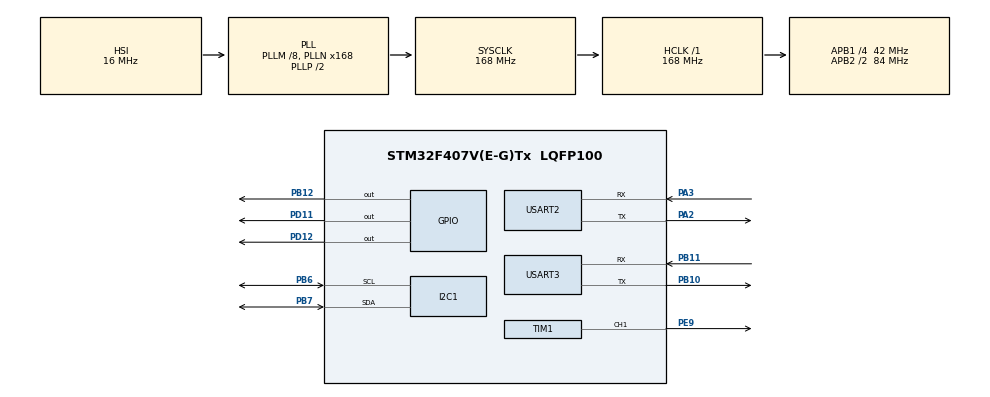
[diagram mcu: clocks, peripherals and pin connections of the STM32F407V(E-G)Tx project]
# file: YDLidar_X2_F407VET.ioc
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Dma.Request0=USART2_RX
Dma.USART2_RX.0.Direction=DMA_PERIPH_TO_MEMORY
Dma.USART2_RX.0.FIFOMode=DMA_FIFOMODE_DISABLE
Dma.USART2_RX.0.Instance=DMA1_Stream5
Dma.USART2_RX.0.MemDataAlignment=DMA_MDATAALIGN_BYTE
Dma.USART2_RX.0.MemInc=DMA_MINC_ENABLE
Dma.USART2_RX.0.Mode=DMA_NORMAL
Dma.USART2_RX.0.PeriphDataAlignment=DMA_PDATAALIGN_BYTE
Dma.USART2_RX.0.PeriphInc=DMA_PINC_DISABLE
Dma.USART2_RX.0.Priority=DMA_PRIORITY_LOW
Mcu.Family=STM32F4
Mcu.Name=STM32F407V(E-G)Tx
Mcu.Package=LQFP100
NVIC.DMA1_Stream5_IRQn=true\:0\:0\:false\:false\:true\:false\:true\:true
NVIC.PriorityGroup=NVIC_PRIORITYGROUP_4
PA2.Mode=Asynchronous
PA2.Signal=USART2_TX
PA3.Mode=Asynchronous
PA3.Signal=USART2_RX
PB10.Mode=Asynchronous
PB10.Signal=USART3_TX
PB11.Mode=Asynchronous
PB11.Signal=USART3_RX
PB12.Signal=GPIO_Output
PB6.GPIO_Pu=GPIO_PULLUP
PB6.Mode=I2C
PB6.Signal=I2C1_SCL
PB7.GPIO_Pu=GPIO_PULLUP
PB7.Mode=I2C
PB7.Signal=I2C1_SDA
PD11.Signal=GPIO_Output
PD12.Signal=GPIO_Output
PE9.Signal=S_TIM1_CH1
ProjectManager.HeapSize=0x200
ProjectManager.StackSize=0x400
ProjectManager.TargetToolchain=MDK-ARM V5.32
RCC.48MHZClocksFreq_Value=84000000
RCC.AHBFreq_Value=168000000
RCC.APB1CLKDivider=RCC_HCLK_DIV4
RCC.APB1Freq_Value=42000000
RCC.APB1TimFreq_Value=84000000
RCC.APB2CLKDivider=RCC_HCLK_DIV2
RCC.APB2Freq_Value=84000000
RCC.APB2TimFreq_Value=168000000
RCC.CortexFreq_Value=168000000
RCC.HCLKFreq_Value=168000000
RCC.HSE_VALUE=25000000
RCC.HSI_VALUE=16000000
RCC.LSE_VALUE=32768
RCC.PLLM=8
RCC.PLLN=168
RCC.SYSCLKFreq_VALUE=168000000
RCC.SYSCLKSource=RCC_SYSCLKSOURCE_PLLCLK
RCC.VCOOutputFreq_Value=336000000
SH.S_TIM1_CH1.0=TIM1_CH1,PWM Generation1 CH1
TIM1.Channel-PWM\ Generation1\ CH1=TIM_CHANNEL_1
TIM1.Period=100-1
TIM1.Prescaler=168-1
USART2.VirtualMode=VM_ASYNC
USART3.VirtualMode=VM_ASYNC
VP_TIM1_VS_ClockSourceINT.Mode=Internal
board=custom

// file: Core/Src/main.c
/* USER CODE BEGIN Header */
/**
  ******************************************************************************
  * @file           : main.c
  * @brief          : Main program body
  ******************************************************************************
  * @attention
  *
  * Copyright (c) 2022 STMicroelectronics.
  * All rights reserved.
  *
  * This software is licensed under terms that can be found in the LICENSE file
  * in the root directory of this software component.
  * If no LICENSE file comes with this software, it is provided AS-IS.
  *
  ******************************************************************************
  */
/* USER CODE END Header */
#include "main.h"

/* USER CODE BEGIN Includes */

#include <cmath>
#include <string.h>
#include <stdio.h>
#include "lcd16x2_i2c.h"

/* USER CODE END Includes */

/* USER CODE BEGIN PD */

#define dataLong 360

/* USER CODE END PD */

I2C_HandleTypeDef hi2c1;

TIM_HandleTypeDef htim1;

UART_HandleTypeDef huart2;
UART_HandleTypeDef huart3;
DMA_HandleTypeDef hdma_usart2_rx;

void SystemClock_Config(void);
static void MX_GPIO_Init(void);
static void MX_DMA_Init(void);
static void MX_USART2_UART_Init(void);
static void MX_TIM1_Init(void);
static void MX_I2C1_Init(void);
static void MX_USART3_UART_Init(void);

/* USER CODE BEGIN 0 */

/************************************* Variables ******************************/

uint8_t ReceiverBuffer[dataLong] ;
uint8_t logData[dataLong*3];
uint8_t pointLog = 0;

// Power Up Scan
uint8_t modelLidar;
uint8_t firmwareVersionMinor;
uint8_t firmwareVersionMajor;
uint8_t hardwareVersion;
uint8_t serialNumber[16];
uint8_t dataLengthPower;
uint8_t modeScanPower;
uint8_t typeCodePower;
uint8_t contentPower[20];
uint8_t flagPower = 0;

// Sampling & Ranging
int dataLengthScan;
uint8_t modeScan;
uint8_t typeCodeScan;
uint8_t contentScan[60];
uint8_t scanLog[120];
uint8_t startingPoint[1];
uint8_t flagScan = 0;

// Data Protocol
uint8_t PH[2];
uint8_t CT[1];
uint8_t LSN[1];
uint8_t FSA[2];
uint8_t LSA[2];
uint8_t CS[2];
uint8_t SI[2];
uint8_t logDataProtocol[80];
float distanceBuf;
float angleStart;
float angleEnd;
float angleAtIPosition;
float angleCorrectionAtIPosition;
float trueAngle;

// Main Data
float distance[360];
float angle[360];
unsigned int distacePosition = 0;
int flagDataSimilar = 0;

// Normalisasi Data
float angleToDistance[360];
short flagNorm = 0;

/************************************* Call Back ******************************/

void HAL_UART_RxHalfCpltCallback(UART_HandleTypeDef *huart)
{
  HAL_GPIO_TogglePin(GPIOD, GPIO_PIN_12);
}

/************************************* Receiving Data **************************/

void HAL_UART_RxCpltCallback(UART_HandleTypeDef *huart)
{
	// Get Data
//	for(int i = 0; i < dataLong; i++){
//		logData[i+(pointLog*dataLong)] = ReceiverBuffer[i];
//	}
//	pointLog++;
//
	// Scan for Power Information
	for(int i = 0; i < dataLong; i++){
		if(flagPower == 0){
			if(ReceiverBuffer[i] == 0xA5){
				if(ReceiverBuffer[i+1] == 0x5A){

					dataLengthPower = ((ReceiverBuffer[i+5]) << 3 | (ReceiverBuffer[i+4]) << 2 | (ReceiverBuffer[i+3]) << 1 | (ReceiverBuffer[i+2]));

					// Mode Scan
					if(ReceiverBuffer[i+5] == 0x00){
						modeScanPower = 0x00;
					}
					else{
						modeScanPower = 0x01;
					}

					// Type Code
					typeCodePower = ReceiverBuffer[i+6];

					// Content
					modelLidar = ReceiverBuffer[i+7];
					firmwareVersionMajor = ReceiverBuffer[i+9];
					firmwareVersionMinor = ReceiverBuffer[i+8];
					hardwareVersion = ReceiverBuffer[i+10];

					// Flag On
					flagPower = 1;
				}
			}
		}
	}

	// Scan for sampling
	for(int i = 0; i < dataLong; i++){
		if(flagPower == 1){
			if(ReceiverBuffer[i] == 0xA5){
				if(ReceiverBuffer[i+1] == 0x5A){
					if(ReceiverBuffer[i+2] == 0x05){

						dataLengthScan = (ReceiverBuffer[i+5] << 24)|(ReceiverBuffer[i+4] << 16) | (ReceiverBuffer[i+3] << 8) | (ReceiverBuffer[i+2]);

						// Mode Scan
						if(ReceiverBuffer[i+5] == 0x00){
							modeScan = 0x00;
						}
						else{
							modeScan = 0x01;
						}

						// Type Code
						typeCodeScan = ReceiverBuffer[i+6];

						// Flag Scan ON
						flagScan = 1;
					}
				}
			}
		}
	}

	// Scan for continuous data
	if(flagScan == 1){
		for(int k = 0; k < dataLong; k++){
		logDataProtocol[k] = ReceiverBuffer[k];
		if(ReceiverBuffer[k] == 0xAA){
			if(ReceiverBuffer[k+1] == 0x55){

				PH[0] = ReceiverBuffer[k];
				PH[1] = ReceiverBuffer[k+1];
				CT[0] = ReceiverBuffer[k+2];
				LSN[0] = ReceiverBuffer[k+3];
				FSA[0] = ReceiverBuffer[k+4];
				FSA[1] = ReceiverBuffer[k+5];
				LSA[0] = ReceiverBuffer[k+6];
				LSA[1] = ReceiverBuffer[k+7];
				CS[0] = ReceiverBuffer[k+8];
				CS[1] = ReceiverBuffer[k+9];

				// Calculate Starting Angle
				angleStart = (FSA[0]| FSA[1] << 8) >> 1 ;
				angleStart = (float)angleStart/64;

				// Calculate Ending Angle
				angleEnd = (LSA[0] | LSA[1] << 8) >> 1;
				angleEnd = (float)angleEnd/64;

				// Combine All Data Angle and Distance
					int z = 0;
					int y = 0;
					for(int x = 0; x < ((int)LSN[0])*2; x++){
						int flag = 0;
						// filter for Distance to only take data every odd number
						if( x%2 == 0){
							SI[0] = ReceiverBuffer[k+10+x];
							SI[1] = ReceiverBuffer[k+11+x];
							distanceBuf = SI[0] | SI[1] << 8;
							distanceBuf = (float)distanceBuf/4;
							distance[z] = distanceBuf;
							z++;
							flag = 1;
						}

						if(flag == 1){
							if(distanceBuf > 0.1){

								// Reading Next Angle
								float angleAtIPositionB = (float)(((angleEnd - angleStart)/(((int)LSN[0])-1))*(x-1))+angleStart;
								float angleCorrectionAtIPositionB = atan(21.8*(155.3-distanceBuf)/(155.3*distanceBuf));
								angleAtIPositionB = angleAtIPositionB + angleCorrectionAtIPositionB;

								// Reading Next Distance
								uint8_t SIB[2];
								SIB[0] = ReceiverBuffer[k+10+x];
								SIB[1] = ReceiverBuffer[k+11+x];
								float distanceBufB = SIB[0] | SIB[1] << 8;
								distanceBufB = (float)distanceBufB/4;

								// Reading Flag Similar to Continue if reading the same point
								if(flagDataSimilar == 1){
									flagDataSimilar = 0;
									continue;
								}
								else if((int)angleAtIPosition == (int)angleAtIPositionB){
									int bufDistance = (distanceBuf + distanceBufB)/2;
									angleToDistance[(int)angleAtIPosition] = bufDistance;
									flagDataSimilar = 1;
								}
								else{
									angleToDistance[(int)angleAtIPosition] = distanceBuf;
								}

							}
							flag = 0;
						}

						// filter for Angle to only take data along LSN size
						if( x < ((int)LSN[0])){
							angleAtIPosition = (float)(((angleEnd - angleStart)/(((int)LSN[0])-1))*(x-1))+angleStart;
							angleCorrectionAtIPosition = atan(21.8*(155.3-distanceBuf)/(155.3*distanceBuf));
							angleAtIPosition = angleAtIPosition + angleCorrectionAtIPosition;
							angle[y] = angleAtIPosition;
							y++;
						}

					}

				}
			}
		}
	}

	HAL_UART_Receive_DMA(&huart2, ReceiverBuffer, dataLong);

}

/* USER CODE END 0 */

int main(void)
{

  /* MCU Configuration--------------------------------------------------------*/

  /* Reset of all peripherals, Initializes the Flash interface and the Systick. */
  HAL_Init();

  /* Configure the system clock */
  SystemClock_Config();

  /* Initialize all configured peripherals */
  MX_GPIO_Init();
  MX_DMA_Init();
  MX_USART2_UART_Init();
  MX_TIM1_Init();
  MX_I2C1_Init();
  MX_USART3_UART_Init();
  /* USER CODE BEGIN 2 */

	/********************************** Start LCD Function ****************************/

	if(lcd16x2_i2c_init(&hi2c1)){
		lcd16x2_i2c_clear();
	}

	/********************************** End LCD Function ******************************/

	/********************************** Start PWM Generator ***************************/

	TIM1->CCR1 = (100*166667/100);
	HAL_TIM_PWM_Start(&htim1, TIM_CHANNEL_1);

	/********************************** End PWM Generator *****************************/

	/********************************** Start UART Receiver ***************************/

	HAL_UART_Receive_DMA(&huart2, ReceiverBuffer, dataLong);

	/********************************** End UART Receiver *****************************/

  /* USER CODE END 2 */

  /* Infinite loop */
  /* USER CODE BEGIN WHILE */
  while (1)
  {

//		lcd16x2_i2c_clear();
//		lcd16x2_i2c_setCursor(0,0);
//		lcd16x2_i2c_printf("Dist : %f",distance[0]);
//		lcd16x2_i2c_setCursor(1,0);
//		lcd16x2_i2c_printf("Angle : %f", angle[0]);
//		HAL_Delay(500);
//		flagNorm = 0;
//		for(int i = 0; i < 40 ; i++){
//
//			// Normalisasi Data
//			if(distance[i] > 0.1 ){
//
////				char bufTransmit[34];
//				int bufAngleA = (int) angle[i];
//				int bufAngleB = (int) angle[i+1];
//
//				if(flagNorm == 1){
//					flagNorm = 0;
//					continue;
//				}
//				else if(bufAngleA == bufAngleB){
//					int bufDistance = (distance[i] + distance[i+1])/2;
//					angleToDistance[bufAngleA] = bufDistance;
//					flagNorm = 1;
//				}
//				else{
//					angleToDistance[bufAngleA] = distance[i];
//				}
//
//				sprintf(bufTransmit, "D%d: %.2f || A%d: %d \r\n", i,distance[i], i, bufAngleA);
//				HAL_UART_Transmit(&huart3, (uint8_t*)bufTransmit, sizeof(bufTransmit), HAL_MAX_DELAY);
//			}
//
//		}

    /* USER CODE END WHILE */

  }
}

void SystemClock_Config(void)
{
  RCC_OscInitTypeDef RCC_OscInitStruct = {0};
  RCC_ClkInitTypeDef RCC_ClkInitStruct = {0};

  /** Configure the main internal regulator output voltage
  */
  __HAL_RCC_PWR_CLK_ENABLE();
  __HAL_PWR_VOLTAGESCALING_CONFIG(PWR_REGULATOR_VOLTAGE_SCALE1);

  /** Initializes the RCC Oscillators according to the specified parameters
  * in the RCC_OscInitTypeDef structure.
  */
  RCC_OscInitStruct.OscillatorType = RCC_OSCILLATORTYPE_HSI;
  RCC_OscInitStruct.HSIState = RCC_HSI_ON;
  RCC_OscInitStruct.HSICalibrationValue = RCC_HSICALIBRATION_DEFAULT;
  RCC_OscInitStruct.PLL.PLLState = RCC_PLL_ON;
  RCC_OscInitStruct.PLL.PLLSource = RCC_PLLSOURCE_HSI;
  RCC_OscInitStruct.PLL.PLLM = 8;
  RCC_OscInitStruct.PLL.PLLN = 168;
  RCC_OscInitStruct.PLL.PLLP = RCC_PLLP_DIV2;
  RCC_OscInitStruct.PLL.PLLQ = 4;
  if (HAL_RCC_OscConfig(&RCC_OscInitStruct) != HAL_OK)
  {
    Error_Handler();
  }

  /** Initializes the CPU, AHB and APB buses clocks
  */
  RCC_ClkInitStruct.ClockType = RCC_CLOCKTYPE_HCLK|RCC_CLOCKTYPE_SYSCLK
                              |RCC_CLOCKTYPE_PCLK1|RCC_CLOCKTYPE_PCLK2;
  RCC_ClkInitStruct.SYSCLKSource = RCC_SYSCLKSOURCE_PLLCLK;
  RCC_ClkInitStruct.AHBCLKDivider = RCC_SYSCLK_DIV1;
  RCC_ClkInitStruct.APB1CLKDivider = RCC_HCLK_DIV4;
  RCC_ClkInitStruct.APB2CLKDivider = RCC_HCLK_DIV2;

  if (HAL_RCC_ClockConfig(&RCC_ClkInitStruct, FLASH_LATENCY_5) != HAL_OK)
  {
    Error_Handler();
  }
}

static void MX_I2C1_Init(void)
{

  hi2c1.Instance = I2C1;
  hi2c1.Init.ClockSpeed = 100000;
  hi2c1.Init.DutyCycle = I2C_DUTYCYCLE_2;
  hi2c1.Init.OwnAddress1 = 0;
  hi2c1.Init.AddressingMode = I2C_ADDRESSINGMODE_7BIT;
  hi2c1.Init.DualAddressMode = I2C_DUALADDRESS_DISABLE;
  hi2c1.Init.OwnAddress2 = 0;
  hi2c1.Init.GeneralCallMode = I2C_GENERALCALL_DISABLE;
  hi2c1.Init.NoStretchMode = I2C_NOSTRETCH_DISABLE;
  if (HAL_I2C_Init(&hi2c1) != HAL_OK)
  {
    Error_Handler();
  }

}

static void MX_TIM1_Init(void)
{

  TIM_ClockConfigTypeDef sClockSourceConfig = {0};
  TIM_MasterConfigTypeDef sMasterConfig = {0};
  TIM_OC_InitTypeDef sConfigOC = {0};
  TIM_BreakDeadTimeConfigTypeDef sBreakDeadTimeConfig = {0};

  htim1.Instance = TIM1;
  htim1.Init.Prescaler = 168-1;
  htim1.Init.CounterMode = TIM_COUNTERMODE_UP;
  htim1.Init.Period = 100-1;
  htim1.Init.ClockDivision = TIM_CLOCKDIVISION_DIV1;
  htim1.Init.RepetitionCounter = 0;
  htim1.Init.AutoReloadPreload = TIM_AUTORELOAD_PRELOAD_DISABLE;
  if (HAL_TIM_Base_Init(&htim1) != HAL_OK)
  {
    Error_Handler();
  }
  sClockSourceConfig.ClockSource = TIM_CLOCKSOURCE_INTERNAL;
  if (HAL_TIM_ConfigClockSource(&htim1, &sClockSourceConfig) != HAL_OK)
  {
    Error_Handler();
  }
  if (HAL_TIM_PWM_Init(&htim1) != HAL_OK)
  {
    Error_Handler();
  }
  sMasterConfig.MasterOutputTrigger = TIM_TRGO_RESET;
  sMasterConfig.MasterSlaveMode = TIM_MASTERSLAVEMODE_DISABLE;
  if (HAL_TIMEx_MasterConfigSynchronization(&htim1, &sMasterConfig) != HAL_OK)
  {
    Error_Handler();
  }
  sConfigOC.OCMode = TIM_OCMODE_PWM1;
  sConfigOC.Pulse = 0;
  sConfigOC.OCPolarity = TIM_OCPOLARITY_HIGH;
  sConfigOC.OCNPolarity = TIM_OCNPOLARITY_HIGH;
  sConfigOC.OCFastMode = TIM_OCFAST_DISABLE;
  sConfigOC.OCIdleState = TIM_OCIDLESTATE_RESET;
  sConfigOC.OCNIdleState = TIM_OCNIDLESTATE_RESET;
  if (HAL_TIM_PWM_ConfigChannel(&htim1, &sConfigOC, TIM_CHANNEL_1) != HAL_OK)
  {
    Error_Handler();
  }
  sBreakDeadTimeConfig.OffStateRunMode = TIM_OSSR_DISABLE;
  sBreakDeadTimeConfig.OffStateIDLEMode = TIM_OSSI_DISABLE;
  sBreakDeadTimeConfig.LockLevel = TIM_LOCKLEVEL_OFF;
  sBreakDeadTimeConfig.DeadTime = 0;
  sBreakDeadTimeConfig.BreakState = TIM_BREAK_DISABLE;
  sBreakDeadTimeConfig.BreakPolarity = TIM_BREAKPOLARITY_HIGH;
  sBreakDeadTimeConfig.AutomaticOutput = TIM_AUTOMATICOUTPUT_DISABLE;
  if (HAL_TIMEx_ConfigBreakDeadTime(&htim1, &sBreakDeadTimeConfig) != HAL_OK)
  {
    Error_Handler();
  }
  HAL_TIM_MspPostInit(&htim1);

}

static void MX_USART2_UART_Init(void)
{

  huart2.Instance = USART2;
  huart2.Init.BaudRate = 115200;
  huart2.Init.WordLength = UART_WORDLENGTH_8B;
  huart2.Init.StopBits = UART_STOPBITS_1;
  huart2.Init.Parity = UART_PARITY_NONE;
  huart2.Init.Mode = UART_MODE_TX_RX;
  huart2.Init.HwFlowCtl = UART_HWCONTROL_NONE;
  huart2.Init.OverSampling = UART_OVERSAMPLING_16;
  if (HAL_UART_Init(&huart2) != HAL_OK)
  {
    Error_Handler();
  }

}

static void MX_USART3_UART_Init(void)
{

  huart3.Instance = USART3;
  huart3.Init.BaudRate = 115200;
  huart3.Init.WordLength = UART_WORDLENGTH_8B;
  huart3.Init.StopBits = UART_STOPBITS_1;
  huart3.Init.Parity = UART_PARITY_NONE;
  huart3.Init.Mode = UART_MODE_TX_RX;
  huart3.Init.HwFlowCtl = UART_HWCONTROL_NONE;
  huart3.Init.OverSampling = UART_OVERSAMPLING_16;
  if (HAL_UART_Init(&huart3) != HAL_OK)
  {
    Error_Handler();
  }

}

static void MX_DMA_Init(void)
{

  /* DMA controller clock enable */
  __HAL_RCC_DMA1_CLK_ENABLE();

  /* DMA interrupt init */
  /* DMA1_Stream5_IRQn interrupt configuration */
  HAL_NVIC_SetPriority(DMA1_Stream5_IRQn, 0, 0);
  HAL_NVIC_EnableIRQ(DMA1_Stream5_IRQn);

}

static void MX_GPIO_Init(void)
{
  GPIO_InitTypeDef GPIO_InitStruct = {0};

  /* GPIO Ports Clock Enable */
  __HAL_RCC_GPIOA_CLK_ENABLE();
  __HAL_RCC_GPIOE_CLK_ENABLE();
  __HAL_RCC_GPIOB_CLK_ENABLE();
  __HAL_RCC_GPIOD_CLK_ENABLE();

  /*Configure GPIO pin Output Level */
  HAL_GPIO_WritePin(GPIOB, GPIO_PIN_12, GPIO_PIN_RESET);

  /*Configure GPIO pin Output Level */
  HAL_GPIO_WritePin(GPIOD, GPIO_PIN_11|GPIO_PIN_12, GPIO_PIN_RESET);

  /*Configure GPIO pin : PB12 */
  GPIO_InitStruct.Pin = GPIO_PIN_12;
  GPIO_InitStruct.Mode = GPIO_MODE_OUTPUT_PP;
  GPIO_InitStruct.Pull = GPIO_NOPULL;
  GPIO_InitStruct.Speed = GPIO_SPEED_FREQ_LOW;
  HAL_GPIO_Init(GPIOB, &GPIO_InitStruct);

  /*Configure GPIO pins : PD11 PD12 */
  GPIO_InitStruct.Pin = GPIO_PIN_11|GPIO_PIN_12;
  GPIO_InitStruct.Mode = GPIO_MODE_OUTPUT_PP;
  GPIO_InitStruct.Pull = GPIO_NOPULL;
  GPIO_InitStruct.Speed = GPIO_SPEED_FREQ_LOW;
  HAL_GPIO_Init(GPIOD, &GPIO_InitStruct);

}

void Error_Handler(void)
{
  __disable_irq();
  while (1)
  {
  }
}
